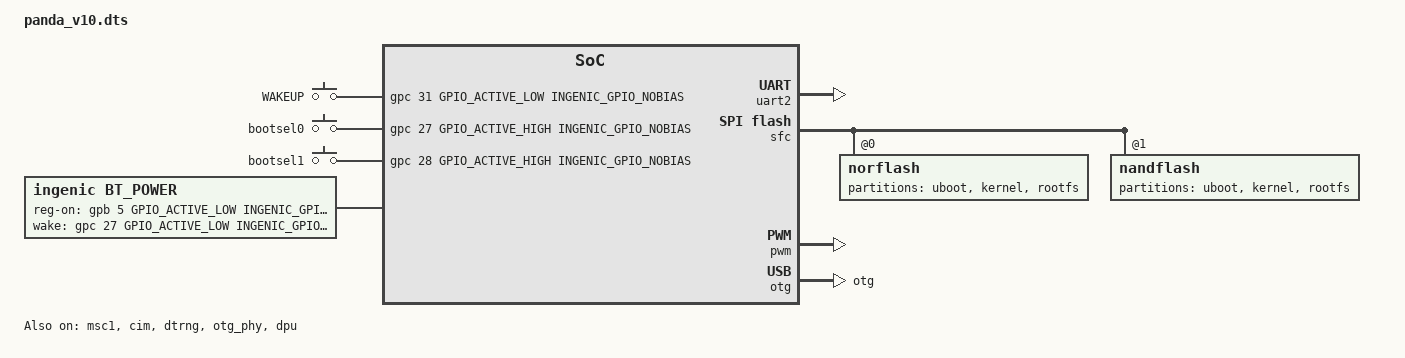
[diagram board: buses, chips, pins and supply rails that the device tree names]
/dts-v1/;

#include <dt-bindings/input/input.h>
#include "x1600.dtsi"
#include <dt-bindings/interrupt-controller/irq.h>
#include <generated/autoconf.h>

#ifdef CONFIG_RD_X1600_PANDA_MIPI_CAMERA_1V0
#include "panda_cameras/RD_X1600_PANDA_MIPI_CAMERA_1V0.dtsi"
#endif

#ifdef CONFIG_RD_X1600_PANDA_MIPI_CAMERA_2V0
#include "panda_cameras/RD_X1600_PANDA_MIPI_CAMERA_2V0.dtsi"
#endif

#ifdef CONFIG_RD_X1600_PANDA_MIPI_CAMERA_3V2
#include "panda_cameras/RD_X1600_PANDA_CAMERA_3V2.dtsi"
#endif

#ifdef CONFIG_RD_X1600_PANDA_DVP_CAMERA_2V0
#include "panda_cameras/RD_X1600_PANDA_DVP_CAMERA_2V0.dtsi"
#endif

#ifdef CONFIG_RD_X1600_PANDA_DVP_CAMERA_AND_LCD_1V0
#include "panda_cameras/RD_X1600_PANDA_DVP_CAMERA_AND_LCD_1V0.dtsi"
#endif

#ifdef CONFIG_RD_X1600_PANDA_DVP_CAMERA_1V0
#include "panda_cameras/RD_X1600_PANDA_DVP_CAMERA_1V0.dtsi"
#endif

#ifdef CONFIG_STAGE_GC9203
#include "panda_lcd/RD_X1600_PANDA_SPI_LCD_1V0.dtsi"
#endif

#ifdef CONFIG_STAGE_KD035HVFBD037
#include "panda_lcd/RD_X1600_PANDA_LCD_AND_DVP_CAMERA_1V0_KD037.dtsi"
#endif

#ifdef CONFIG_STAGE_KD035HVFMD057
#include "panda_lcd/RD_X1600_PANDA_LCD_AND_DVP_CAMERA_1V0_KD057.dtsi"
#endif

#ifdef CONFIG_STAGE_KD050WVFPA029
#include "panda_lcd/RD_X1600_PANDA_RGB_LCD_1V0.dtsi"
#endif

/ {
	compatible = "ingenic,panda", "ingenic,panda";

	/*chosen {
		bootargs = "console=ttyS1,115200 mem=128M@0x0ip=off init=/linuxrc ubi.mtd=3 root=ubi0:rootfs ubi.mtd=4 rootfstype=ubifs rw";
	};*/


	reserved-memory {
		#address-cells = <1>;
		#size-cells = <1>;
		ranges =<>;

		reserved_memory: reserved_mem@0x2000000{
		      compatible = "shared-dma-pool";
		      reg = <0x02000000 0x2000000>;
		};
	};


};

&uart0 {
	status = "disable";
	/* dma-mode; */
	pinctrl-names = "default";
	pinctrl-0 = <&uart0_pb>;
};

&uart1 {
	status = "disable";
	/* dma-mode; */
	pinctrl-names = "default";
	pinctrl-0 = <&uart1_pb>;
};

&uart2 {
	status = "okay";
	pinctrl-names = "default";
	pinctrl-0 = <&uart2_pb>;
};

&uart3 {
	status = "disable";
};

&cpufreq {
	status = "okay";
	operating-points = <
		/*KHZ uV */
		1200000	900000
		750000	900000
		600000	900000
		500000	900000
		400000	900000
		375000	900000
		300000	900000
		200000	900000
			>;

};

&pdma {
	status = "okay";
};

&msc0 {
	status = "disable";
	pinctrl-names ="default","enable", "disable";
	pinctrl-0 = <&msc0_4bit_f0>;
	pinctrl-1 = <&rtc32k_enable>;
	pinctrl-2 = <&rtc32k_disable>;

	cap-sd-highspeed;
	max-frequency = <50000000>;
	bus-width = <4>;
	voltage-ranges = <1800 3300>;
	non-removable;

	ingenic,sdio_clk = <1>;
	keep-power-in-suspend;

	/* special property */
	ingenic,sdr-gpios = <0>;
	ingenic,wp-gpios = <0>;
	ingenic,cd-gpios = <0>;
	ingenic,rst-gpios = <0>;
	ingenic,removal-manual; /*removal-dontcare, removal-nonremovable, removal-removable, removal-manual*/

	bcmdhd_wlan: bcmdhd_wlan {
		 compatible = "android,bcmdhd_wlan";
		 ingenic,sdio-irq = <&gpb 4 IRQ_TYPE_LEVEL_HIGH INGENIC_GPIO_NOBIAS>;
		 ingenic,sdio-reset = <&gpc 28 GPIO_ACTIVE_LOW INGENIC_GPIO_NOBIAS>;
	};
};

&msc1 {
	status = "okay";
	pinctrl-names ="default";
	pinctrl-0 = <&msc1_4bit>;
	cap-sd-highspeed;
	max-frequency = <50000000>;
	bus-width = <4>;
	voltage-ranges = <1800 3300>;
	/* special property */
	ingenic,wp-gpios = <0>;
	ingneic,cd-gpios = <0>;
	ingenic,rst-gpios = <0>;
	ingenic,removal-dontcare; /*removal-dontcare, removal-nonremovable, removal-removable, removal-manual*/
};

&tcu {
	status = "disable";
	pinctrl-names = "default";
	pinctrl-0 = <&pwm_tcu_trig_pa>;
};

&can0 {
	status = "disable";
	pinctrl-names = "default";
	pinctrl-0 = <&can0_pd>;
	ingenic,clk-freq = <12000000>;
};

&can1 {
	status = "disable";
	pinctrl-names = "default";
	pinctrl-0 = <&can1_pd>;
	ingenic,clk-freq = <12000000>;
};

&cdbus {
	status = "disable";
	pinctrl-names = "default";
	pinctrl-0 = <&cdbus_pd>, <&cdbus_tx_en>;
};

&cim {
	status = "okay";
	memory-region=<&reserved_memory>;
};

&aic {
	status = "disable";
	pinctrl-names = "default";
	pinctrl-0 = <&aic_pb>;
};

&mac0 {
	pinctrl-names = "default", "reset";
	pinctrl-0 = <&mac0_rmii_p0_normal>, <&mac0_rmii_p1_normal>;
	pinctrl-1 = <&mac0_rmii_p0_rst>, <&mac0_rmii_p1_normal>;
	status = "disable";
	ingenic,rst-gpio = <&gpb 31 GPIO_ACTIVE_LOW INGENIC_GPIO_NOBIAS>;
	ingenic,rst-ms = <10>;
	ingenic,mac-mode = <RMII>;
	ingenic,mode-reg = <0xb0000054>;
	ingenic,phy-clk-freq = <50000000>;
};

&sfc {
	status = "okay";
	pinctrl-names = "default";
	pinctrl-0 = <&sfc_pc>;
	ingenic,sfc-init-frequency = <200000000>;
	ingenic,sfc-max-frequency = <400000000>;
	ingenic,use_ofpart_info  = /bits/ 8 <0>;
	ingenic,spiflash_param_offset = <0>;

	norflash@0 {
		partitions {
			compatible = "fixed-partitions";
			#address-cells = <1>;
			#size-cells = <1>;

			/* spi nor flash partition */
			uboot@0 {
				label = "uboot";
				reg = <0x0000000 0x40000>;
				/*read-only;*/
			};

			kernel@40000 {
				label = "kernel";
				reg = <0x40000 0x300000>;
			};

			rootfs@360000 {
				label = "rootfs";
				reg = <0x360000 0xca0000>;
			};
		};
	};

	nandflash@1 {
		partitions {
			compatible = "fixed-partitions";
			#address-cells = <1>;
			#size-cells = <1>;

			/* spi nand flash partition */
			partition@0 {
				label = "uboot";
				reg = <0x0000000 0x100000>;
				/*read-only;*/
			};

			partition@100000 {
				label = "kernel";
				reg = <0x100000 0x800000>;
			};

			partition@900000 {
				label = "rootfs";
				reg = <0x900000 0xf700000>;
			};
		};
	};

};

&i2c1 {
	status = "disable";
	clock-frequency = <100000>;
	timeout = <1000>;
	pinctrl-names = "default";
	pinctrl-0 = <&i2c1_pb_f0>;

	wm8594: adc@1a {
		compatible = "wlf,wm8594";
		status = "okay";
		reg = <0x1a>;
		reset-gpios = <&gpb 10 GPIO_ACTIVE_HIGH INGENIC_GPIO_NOBIAS>;
		mute-gpios = <&gpb 7 GPIO_ACTIVE_HIGH INGENIC_GPIO_NOBIAS>;
		pwdn-gpios = <&gpb 9 GPIO_ACTIVE_HIGH INGENIC_GPIO_NOBIAS>;
	};
};

&spi0 {
	status = "disable";
	pinctrl-names = "default";
	pinctrl-0 = <&spi0_pb>;
	spi-max-frequency = <54000000>;
	num-cs = <2>;
	/* cs-gpios = <0>, <0>; */
	/* cs-gpios = <&gpb 17 GPIO_ACTIVE_HIGH INGENIC_GPIO_NOBIAS>, <&gpb 16 GPIO_ACTIVE_HIGH INGENIC_GPIO_NOBIAS>; */
	ingenic,chnl = <0>;
	ingenic,allow_cs_same = <1>;
	ingenic,bus_num = <0>;
	ingenic,has_dma_support = <0>;
	ingenic,spi-src-clk = <1>;/*0.ext; 1.ssi*/

	/* Add SPI interface device */
	spidev: spidev@0 {
		compatible = "rohm,dh2228fv";
		reg = <0>;
		spi-max-frequency = <10000000>;
	};
};

&spi_slv0 {
	status = "disable";
	pinctrl-names = "default";
	pinctrl-0 = <&spi_slv_pa>;
	ingenic,has_dma_support = <1>;
};

&dtrng {
	status = "okay";
};

&pwm {
	pinctrl-names = "default", "pwm7_pb_21";
	pinctrl-0 = <&pwm2_pc>,
		<&pwm7_pb_21>;
	status = "okay";
};

&otg {
	g-use-dma;
	dr_mode = "otg"; // host,peripheral,otg
	device-using-dma = <1>;
	status = "okay";
};

&otg_phy {
	status = "okay";
	pinctrl-names = "default";
	pinctrl-0 = <&drvvbus_pin>;
};

&dpu {
	status = "okay";
	/*ingenic,disable-rdma-fb = <0>;*/
};

&efuse {
	status = "disable";
	ingenic,efuse-en-gpio = <&gpc 1 GPIO_ACTIVE_HIGH INGENIC_GPIO_NOBIAS>;
};


/ {

	extclk: extclk {
		clock-frequency = <24000000>;
	};

	gpio_keys: gpio_keys {
		   compatible = "gpio-keys";

		   wakeup {
			   label = "WAKEUP";
			   linux,code = <KEY_WAKEUP>;
			   gpios = <&gpc 31 GPIO_ACTIVE_LOW INGENIC_GPIO_NOBIAS>;
			   gpio-key,wakeup;
		   };

		   bootsel0 {
			   label = "bootsel0";
			   linux,code = <KEY_HOME>;
			   gpios = <&gpc 27 GPIO_ACTIVE_HIGH INGENIC_GPIO_NOBIAS>;
		   };

		   bootsel1 {
			   label = "bootsel1";
			   linux,code = <KEY_BACK>;
			   gpios = <&gpc 28 GPIO_ACTIVE_HIGH INGENIC_GPIO_NOBIAS>;
		   };
	   };

	/*
	 * gpc 27 bt wakeup host
	 */
	bt_power {
		compatible = "ingenic,bt_power";
		ingenic,reg-on-gpio = <&gpb 5 GPIO_ACTIVE_LOW INGENIC_GPIO_NOBIAS>;
		ingenic,wake-gpio = <&gpc 27 GPIO_ACTIVE_LOW INGENIC_GPIO_NOBIAS>;
	};

	spi_gpio {
		status = "disable";
	};

#ifdef CONFIG_LINUX_PMEM
	linux_pmem {
		status = "okay";
		compatible = "linux_pmem";
		linux_pmem,name = "pmem";
		linux_pmem,no_allocator = <0>;
		linux_pmem,cached       = <1>;
		linux_pmem,start        = <0>;
		linux_pmem,size         = CONFIG_PMEM_RESERVE_SIZE;
    };
#endif

	dump_pcm_codec:dump_pcm_codec{
		compatible = "ingenic,pcm-dump-codec";
		status = "disable";
	};

	sound_panda_ecdc {
		status = "disable";
		compatible = "ingenic,x1600-sound";
		ingenic,model = "panda";
		ingenic,dai-link = "i2s-ecodec", "i2s-tloop";
		ingenic,stream = "i2s-ecodec", "i2s-tloop";
		ingenic,cpu-dai = <&i2s>, <&i2s_tloop>;
		ingenic,platform = <&aic>, <&i2s_tloop>;
		ingenic,codec = <&wm8594>, <&dump_pcm_codec>;
		ingenic,codec-dai = "wm8594-hifi", "pcm-dump";
		en3v3-gpios = <&gpb 13 GPIO_ACTIVE_HIGH INGENIC_GPIO_NOBIAS>;
		en9v-gpios = <&gpb 12 GPIO_ACTIVE_HIGH INGENIC_GPIO_NOBIAS>;
	};
};

